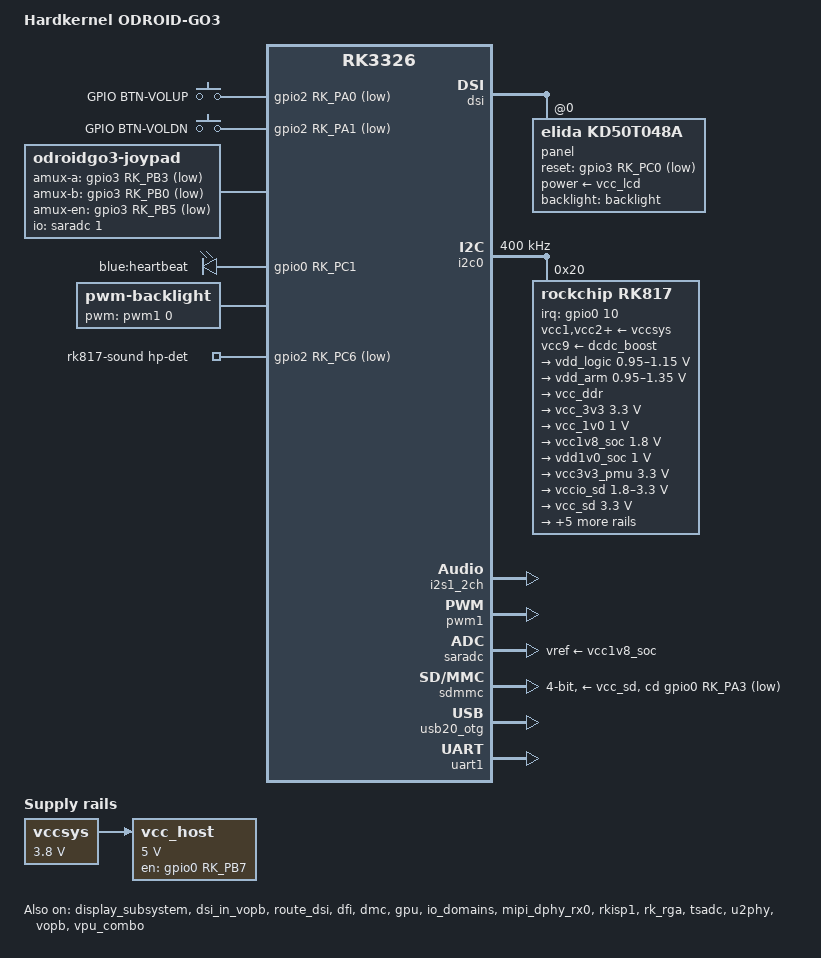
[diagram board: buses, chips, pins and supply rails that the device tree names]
// SPDX-License-Identifier: (GPL-2.0+ OR MIT)
/*
 * Copyright (c) 2020 Hardkernel Co., Ltd
 */

/dts-v1/;
#include <dt-bindings/display/drm_mipi_dsi.h>
#include <dt-bindings/gpio/gpio.h>
#include <dt-bindings/input/input.h>
#include <dt-bindings/pinctrl/rockchip.h>
#include <dt-bindings/sensor-dev.h>
#include "rk3326.dtsi"
#include "rk3326-linux.dtsi"

/ {
	model = "Hardkernel ODROID-GO3";
	compatible = "rockchip,rk3326-odroidgo3-linux", "rockchip,rk3326";

	chosen {
                bootargs = "";
	};

	gpio_keys: odroidgo3-keys {
			compatible = "gpio-keys";
			#address-cells = <1>;
			#size-cells = <0>;
			autorepeat;
			button@0 {
				label = "GPIO BTN-VOLUP";
				linux,code = <KEY_VOLUMEUP>;
				gpios = <&gpio2 RK_PA0 GPIO_ACTIVE_LOW>;
			};
			button@1 {
				label = "GPIO BTN-VOLDN";
				linux,code = <KEY_VOLUMEDOWN>;
				gpios = <&gpio2 RK_PA1 GPIO_ACTIVE_LOW>;
			};
	};

	joypad: odroidgo3-joypad {
                compatible = "odroidgo3-joypad";

                joypad-name = "GO-Super Gamepad";
                joypad-product = <0x1100>;
                joypad-revision = <0x0100>;

		status = "okay";
                /*
                  - odroidgo3-joypad sysfs list -
		   * for poll device interval(ms)
		   /sys/devices/platform/odroidgo3_joypad/poll_interval [rw]
		   ex) echo 20 > poll_interval
                   * for button-adc-fuzz
		   /sys/devices/platform/odroidgo3_joypad/adc_fuzz [r]
                   * for button-adc-flat
		   /sys/devices/platform/odroidgo3_joypad/adc_flat [r]

		   * for report control(1:enable, 0:disable)
		   /sys/devices/platform/odroidgo3_joypad/enable [rw]
		   * for adc calibration value setup(current adcs value -> cal value)
		   /sys/devices/platform/odroidgo3_joypad/adc_cal [rw]
		   ex) echo 0 > adc_cal
		   * for amux data debug
		   * Joypad driver is disabled when using this sysfs.
		   /sys/devices/platform/odroidgo3_joypad/amux_debug [rw]
		   ex) echo 0 > amux_debug --> select amux channel
		   ex) cat amux_debug --> get adc data of seleted channel
                */

		/* gpio pincontrol setup */
                pinctrl-names = "default";
                pinctrl-0 = <&btn_pins>;

		/* Analog mux define */
		io-channel-names = "amux_adc";
		io-channels = <&saradc 1>;

		/* adc mux channel count */
		amux-count = <4>;
		/* adc mux select(a,b) gpio */
		amux-a-gpios = <&gpio3 RK_PB3 GPIO_ACTIVE_LOW>;
		amux-b-gpios = <&gpio3 RK_PB0 GPIO_ACTIVE_LOW>;
		/* adc mux enable gpio */
		amux-en-gpios = <&gpio3 RK_PB5 GPIO_ACTIVE_LOW>;

		/* adc calculate scale */
		button-adc-scale = <2>;

		/* adc deadzone range  */
		button-adc-deadzone = <64>;

		/*
		  specifies fuzz value that is used to filter noise from
		  the event stream.
		*/
		button-adc-fuzz = <32>;
		button-adc-flat = <32>;

		/*
		  Analog Stick data tuning value(precent)
		  p = positive direction, n = negative direction
		  report value = (real_adc_data * tuning_value) / 100
		*/
		abs_x-p-tuning = <200>;
		abs_x-n-tuning = <200>;

		abs_y-p-tuning = <200>;
		abs_y-n-tuning = <200>;

		abs_rx-p-tuning = <200>;
		abs_rx-n-tuning = <200>;

		abs_ry-p-tuning = <200>;
		abs_ry-n-tuning = <200>;

		/* poll device interval (ms), adc read interval */
		poll-interval = <10>;

		/* gpio button auto repeat set value : default disable */
		/*
			autorepeat;
		*/

		/*
		      *** ODROIDGO3-Advance Switch layoout ***
		|------------------------------------------------|
		| sw15  sw21        sw10   sw9        sw20  sw16 |
		|------------------------------------------------|
		|      sw19                            sw22      |
		|              |-------------------|             |
		|     sw1      |                   |      sw8    |
		|  sw3   sw4   |                   |   sw7   sw5 |
		|     sw2      |    LCD Display    |      sw6    |
		|              |                   |             |
		|              |                   |             |
		|              |-------------------|             |
		|  sw11 sw12        | sd-slot |       sw13 sw14  |
		|-------------------|         |------------------|
		*/
                /*
                    joypad driver is poll-device driver.
                    poll-device is does not support wakeup-source.
		*/
                sw1 {
                        gpios = <&gpio1 RK_PB4 GPIO_ACTIVE_LOW>;
                        label = "GPIO DPAD-UP";
                        linux,code = <BTN_DPAD_UP>; // 0x220
                };
                sw2 {
                        gpios = <&gpio1 RK_PB5 GPIO_ACTIVE_LOW>;
                        label = "GPIO DPAD-DOWN";
                        linux,code = <BTN_DPAD_DOWN>; // 0x221
                };
                sw3 {
                        gpios = <&gpio1 RK_PB6 GPIO_ACTIVE_LOW>;
                        label = "GPIO DPAD-LEFT";
                        linux,code = <BTN_DPAD_LEFT>; // 0x222
                };
                sw4 {
                        gpios = <&gpio1 RK_PB7 GPIO_ACTIVE_LOW>;
                        label = "GPIO DPAD-RIGHT";
                        linux,code = <BTN_DPAD_RIGHT>; // 0x223
                };
                sw5 {
                        gpios = <&gpio1 RK_PA2 GPIO_ACTIVE_LOW>;
                        label = "GPIO KEY BTN-A";
                        linux,code = <BTN_EAST>; // 0x131
                };
                sw6 {
                        gpios = <&gpio1 RK_PA5 GPIO_ACTIVE_LOW>;
                        label = "GPIO BTN-B";
                        linux,code = <BTN_SOUTH>; // 0x130
                };
                sw7 {
                        gpios = <&gpio1 RK_PA6 GPIO_ACTIVE_LOW>;
                        label = "GPIO BTN-Y";
                        linux,code = <BTN_WEST>; // 0x134
                };
                sw8 {
                        gpios = <&gpio1 RK_PA7 GPIO_ACTIVE_LOW>;
                        label = "GPIO BTN-X";
                        linux,code = <BTN_NORTH>; // 0x133
                };
                sw11 {
                        gpios = <&gpio2 RK_PA2 GPIO_ACTIVE_LOW>;
                        label = "GPIO F3";
                        linux,code = <BTN_TRIGGER_HAPPY3>; // 0x2c2
                };
                sw12 {
                        gpios = <&gpio2 RK_PA3 GPIO_ACTIVE_LOW>;
                        label = "GPIO F4";
                        linux,code = <BTN_TRIGGER_HAPPY4>; // 0x2c3
                };
                sw13 {
                        gpios = <&gpio2 RK_PA4 GPIO_ACTIVE_LOW>;
                        label = "GPIO F5";
                        linux,code = <BTN_TRIGGER_HAPPY5>; // 0x2c4
                };
                sw14 {
                        gpios = <&gpio2 RK_PA5 GPIO_ACTIVE_LOW>;
                        label = "GPIO F6";
                        linux,code = <BTN_TRIGGER_HAPPY6>; // 0x13c
                };
                sw15 {
                        gpios = <&gpio2 RK_PA6 GPIO_ACTIVE_LOW>;
                        label = "GPIO TOP-LEFT";
                        linux,code = <BTN_TL>; // 0x02
                };
                sw16 {
                        gpios = <&gpio2 RK_PA7 GPIO_ACTIVE_LOW>;
                        label = "GPIO TOP-RIGHT";
                        linux,code = <BTN_TR>; // 0x05
                };
                sw19 {
                        gpios = <&gpio3 RK_PB1 GPIO_ACTIVE_LOW>;
                        label = "GPIO F1";
                        linux,code = <BTN_TRIGGER_HAPPY1>;
                };
                sw20 {
                        gpios = <&gpio3 RK_PB7 GPIO_ACTIVE_LOW>;
                        label = "GPIO TOP-RIGHT2";
                        linux,code = <BTN_TR2>;
                };
                sw21 {
                        gpios = <&gpio3 RK_PB2 GPIO_ACTIVE_LOW>;
                        label = "GPIO TOP-LEFT2";
                        linux,code = <BTN_TL2>;
                };
                sw22 {
                        gpios = <&gpio3 RK_PB4 GPIO_ACTIVE_LOW>;
                        label = "GPIO F2";
                        linux,code = <BTN_TRIGGER_HAPPY2>;
                };
        };

	fiq-debugger {
		compatible = "rockchip,fiq-debugger";
		rockchip,serial-id = <2>;
		rockchip,wake-irq = <0>;
		/* If enable uart uses irq instead of fiq */
		rockchip,irq-mode-enable = <0>;
		rockchip,baudrate = <115200>;  /* Only 115200 and 1500000 */
		interrupts = <GIC_SPI 127 IRQ_TYPE_LEVEL_LOW>;
		pinctrl-names = "default";
		pinctrl-0 = <&uart2m1_xfer>;
		status = "okay";
	};

	leds: gpio_leds {
		compatible = "gpio-leds";

		pinctrl-names = "led_pins";
		pinctrl-0 = <&led_pins>;

		/* Blue LED : GPIO0_C1 */
		heartbeat {
			label = "blue:heartbeat";
			gpios = <&gpio0 RK_PC1 GPIO_ACTIVE_HIGH>;
			linux,default-trigger = "heartbeat";
		};
	};

	backlight: backlight {
		compatible = "pwm-backlight";
		pwms = <&pwm1 0 40000 0>;
		brightness-levels = <
			  0   1   2   3   4   5   6   7
			  8   9  10  11  12  13  14  15
			 16  17  18  19  20  21  22  23
			 24  25  26  27  28  29  30  31
			 32  33  34  35  36  37  38  39
			 40  41  42  43  44  45  46  47
			 48  49  50  51  52  53  54  55
			 56  57  58  59  60  61  62  63
			 64  65  66  67  68  69  70  71
			 72  73  74  75  76  77  78  79
			 80  81  82  83  84  85  86  87
			 88  89  90  91  92  93  94  95
			 96  97  98  99 100 101 102 103
			104 105 106 107 108 109 110 111
			112 113 114 115 116 117 118 119
			120 121 122 123 124 125 126 127
			128 129 130 131 132 133 134 135
			136 137 138 139 140 141 142 143
			144 145 146 147 148 149 150 151
			152 153 154 155 156 157 158 159
			160 >;
		default-brightness-level = <80>; /* default 50% */
	};

	rk817-sound {
		compatible = "simple-audio-card";
		simple-audio-card,format = "i2s";
		simple-audio-card,name = "rockchip,rk817-codec";
		simple-audio-card,mclk-fs = <256>;
		simple-audio-card,widgets =
			"Microphone", "Mic Jack",
			"Headphone", "Headphone Jack";
		simple-audio-card,routing =
			"MIC_IN", "Mic Jack",
			/*"IN1P", "Mic Jack",*/
			"Headphone Jack", "HPOL",
			"Headphone Jack", "HPOR";
		simple-audio-card,hp-det-gpio = <&gpio2 RK_PC6 GPIO_ACTIVE_LOW>;
		simple-audio-card,codec-hp-det = <1>;
		simple-audio-card,cpu {
			sound-dai = <&i2s1_2ch>;
		};
		simple-audio-card,codec {
			sound-dai = <&rk817_codec>;
		};
	};

	vccsys: vccsys {
		compatible = "regulator-fixed";
		regulator-name = "vcc3v8_sys";
		regulator-always-on;
		regulator-min-microvolt = <3800000>;
		regulator-max-microvolt = <3800000>;
	};

	vcc_host: vcc_host {
		compatible = "regulator-fixed";
		regulator-name = "vcc_host";
		regulator-min-microvolt = <5000000>;
		regulator-max-microvolt = <5000000>;

		gpio = <&gpio0 RK_PB7 GPIO_ACTIVE_HIGH>;
		enable-active-high;
		regulator-always-on;
		vin-supply = <&vccsys>;
	};
};

&bus_apll {
	bus-supply = <&vdd_logic>;
	status = "okay";
};

&cpu0 {
	cpu-supply = <&vdd_arm>;
};

&cpu0_opp_table {
	rockchip,avs = <1>;

	/* default 1.296GHz */
	rockchip,bin-scaling-sel = <
		0	13
		1	13
	>;

	/delete-node/ opp-816000000;
	/delete-node/ opp-1248000000;
};

&display_subsystem {
	status = "okay";
};

&dsi {
	status = "okay";

	panel@0 {
		compatible = "elida,kd50t048a", "simple-panel-dsi";
		reg = <0>;

		/* pwm1 backlight */
		backlight = <&backlight>;

		/* RK817 LDO8 */
		power-supply = <&vcc_lcd>;

		/* LCD reset gpio GPIO3.C0 */
		reset-gpios = <&gpio3 RK_PC0 GPIO_ACTIVE_LOW>;

		prepare-delay-ms = <2>;
		reset-delay-ms = <20>;
		init-delay-ms = <10>;
		enable-delay-ms = <50>;
		disable-delay-ms = <10>;
		unprepare-delay-ms = <10>;

		/* LCD size */
		width-mm = <69>;
		height-mm = <139>;

		dsi,flags = <(MIPI_DSI_MODE_VIDEO           |
			      MIPI_DSI_MODE_VIDEO_BURST     |
			      MIPI_DSI_MODE_EOT_PACKET)>;

		dsi,format = <MIPI_DSI_FMT_RGB888>;
		dsi,lanes = <2>;

		/*
			- panel-init-sequence data description -
			  mipi_cmd, delay(ms), len, lcd_cmd, lcd_data...

			- mipi_cmd description -
			  05 : MIPI_DSI_SHORT_WRITE
			  15 : MIPI_DSI_SHORT_WRITE_PARAM
			  39 : MIPI_DSI_LONG_WRITE

			- ST7701S (Initialize sequence) -
			  01: Soft reset
			  11: Sleep out & 250ms wait
			  FF: Bank select CMD
			  C0: CMD2 Bank0 LNESET
			  C1: CMD2 Bank0 PORCTRL
			  C2: CMD2 Bank0 INVSEL
			  CC: ???
			  B0: CMD2 Bank0 PVGAMCTRL
			  B1: CMD2 Bank0 NVGAMCTRL
			  B0: CMD2 Bank1 VRHS
			  B1: CMD2 Bank1 VCOMS
			  B2: CMD2 Bank1 VGHSS
			  B3: CMD2 Bank1 TESTCMD
			  B5: CMD2 Bank1 VGLS
			  B7: CMD2 Bank1 PWRCTRL1
			  B8: CMD2 Bank1 PWRCTRL2
			  B9: CMD2 Bank1 PWRCTRL3
			  C1: CMD2 Bank1 PDR1
			  C2: CMD2 Bank1 PDR2
			  D0: CMD2 Bank1 MIPISET1
			  E0 ~ EF : GIP Setting
			  3A: Normal CMD COLMOD
			  53: Normal CMD WRCTRLD
			  55: Normal CMD WRCABC
			  5E: Normal CMD WRCABCMB
			  29: DisplayOn & 50ms wait
		*/

		panel-init-sequence = [
			05 05 01 01
			05 FA 01 11
			39 00 06 FF 77 01 00 00 10
			15 00 03 C0 E9 03
			15 00 03 C1 11 02
			15 00 03 C2 31 08
			15 00 02 CC 10
			39 00 11 B0 00 0D 14 0D 10 05 02 08
			            08 1E 05 13 11 A3 29 18
			39 00 11 B1 00 0C 14 0C 10 05 03 08
			            07 20 05 13 11 A4 29 18
			39 00 06 FF 77 01 00 00 11
			15 00 02 B0 6C
			15 00 02 B1 43
			15 00 02 B2 07
			15 00 02 B3 80
			15 00 02 B5 47
			15 00 02 B7 85
			15 00 02 B8 20
			15 00 02 B9 10
			15 00 02 C1 78
			15 00 02 C3 78
			15 FA 02 D0 88
			39 00 04 E0 00 00 02
			39 00 0C E1 08 00 0A 00 07 00 09 00 00 33 33
			39 00 0F E2 00 00 00 00 00 00 00 00 00 00 00 00 00 00
			39 00 05 E3 00 00 33 33
			15 00 03 E4 44 44
			39 00 11 E5 0E 60 A0 A0 10 60 A0 A0
			            0A 60 A0 A0 0C 60 A0 A0
			39 00 05 E6 00 00 33 33
			15 00 03 E7 44 44
			39 00 11 E8 0D 60 A0 A0 0F 60 A0 A0
			            09 60 A0 A0 0B 60 A0 A0
			39 00 08 EB 02 01 E4 E4 44 00 40
			15 00 03 EC 02 01
			39 00 11 ED AB 89 76 54 01 FF FF FF
			            FF FF FF 10 45 67 98 BA
			39 00 06 FF 77 01 00 00 00
			15 00 02 3A 70
			15 00 02 53 EC
			15 00 02 55 B3
			15 00 02 5E FF
			05 32 01 29
		];

		/* 28: DisplayOff */
		/* 10: SleepIn */
		panel-exit-sequence = [
			05 00 01 28
			05 00 01 10
		];

		display-timings {
			native-mode = <&timing0>;

			timing0: timing0 {
				clock-frequency = <27500000>;
				hactive = <480>;
				vactive = <854>;

				hfront-porch = <2>;
				hsync-len = <10>;
				hback-porch = <2>;
				vfront-porch = <12>;
				vsync-len = <2>;
				vback-porch = <60>;
				hsync-active = <0>;
				vsync-active = <0>;
				de-active = <0>;
				pixelclk-active = <0>;
			};
		};
	};
};

&dsi_in_vopb {
	status = "okay";
};

&route_dsi {
	connect = <&vopb_out_dsi>;
	status = "okay";
};

&dfi {
	status = "okay";
};

&dmc {
	center-supply = <&vdd_logic>;
	status = "okay";
};

&dmc_opp_table {
	/delete-node/ opp-194000000;
	/delete-node/ opp-328000000;
	/delete-node/ opp-450000000;

	opp-786000000 {
		status = "okay";
	};
};

&gpu_opp_table {
	/delete-node/ opp-200000000;
	/delete-node/ opp-300000000;
};

&emmc {
	status = "disabled";
};

&sfc {
	status = "disabled";
};

&gpu {
	mali-supply = <&vdd_logic>;
	status = "okay";
};

&i2c0 {
	status = "okay";
	clock-frequency = <400000>;
	i2c-scl-rising-time-ns = <280>;
	i2c-scl-falling-time-ns = <16>;

	rk817: pmic@20 {
		compatible = "rockchip,rk817";
		reg = <0x20>;
		interrupt-parent = <&gpio0>;
		interrupts = <10 IRQ_TYPE_LEVEL_LOW>;
		pinctrl-names = "default", "pmic-sleep",
				"pmic-power-off", "pmic-reset";
		pinctrl-0 = <&pmic_int>;
		pinctrl-1 = <&soc_slppin_slp>, <&rk817_slppin_slp>;
		pinctrl-2 = <&soc_slppin_gpio>, <&rk817_slppin_pwrdn>;
		pinctrl-3 = <&soc_slppin_rst>, <&rk817_slppin_rst>;
		rockchip,system-power-controller;
		wakeup-source;
		#clock-cells = <1>;
		clock-output-names = "rk808-clkout1", "rk808-clkout2";
		//fb-inner-reg-idxs = <2>;

		/* 1: rst regs (default in codes), 0: rst the pmic */
		pmic-reset-func = <1>;

		vcc1-supply = <&vccsys>;
		vcc2-supply = <&vccsys>;
		vcc3-supply = <&vccsys>;
		vcc4-supply = <&vccsys>;
		vcc5-supply = <&vccsys>;
		vcc6-supply = <&vccsys>;
		vcc7-supply = <&vccsys>;
		vcc8-supply = <&vccsys>;
		vcc9-supply = <&dcdc_boost>;

		pwrkey {
			status = "okay";
		};

		pinctrl_rk8xx: pinctrl_rk8xx {
			gpio-controller;
			#gpio-cells = <2>;

			rk817_ts_gpio1: rk817_ts_gpio1 {
				pins = "gpio_ts";
				function = "pin_fun1";
				/* output-low; */
				/* input-enable; */
			};

			rk817_gt_gpio2: rk817_gt_gpio2 {
				pins = "gpio_gt";
				function = "pin_fun1";
			};

			rk817_pin_ts: rk817_pin_ts {
				pins = "gpio_ts";
				function = "pin_fun0";
			};

			rk817_pin_gt: rk817_pin_gt {
				pins = "gpio_gt";
				function = "pin_fun0";
			};

			rk817_slppin_null: rk817_slppin_null {
				pins = "gpio_slp";
				function = "pin_fun0";
			};

			rk817_slppin_slp: rk817_slppin_slp {
				pins = "gpio_slp";
				function = "pin_fun1";
			};

			rk817_slppin_pwrdn: rk817_slppin_pwrdn {
				pins = "gpio_slp";
				function = "pin_fun2";
			};

			rk817_slppin_rst: rk817_slppin_rst {
				pins = "gpio_slp";
				function = "pin_fun3";
			};
		};

		regulators {
			vdd_logic: DCDC_REG1 {
				regulator-always-on;
				regulator-boot-on;
				regulator-min-microvolt = <950000>;
				regulator-max-microvolt = <1150000>;
				regulator-ramp-delay = <6001>;
				regulator-initial-mode = <0x2>;
				regulator-name = "vdd_logic";
				regulator-state-mem {
					regulator-on-in-suspend;
					regulator-suspend-microvolt = <950000>;
				};
			};

			vdd_arm: DCDC_REG2 {
				regulator-always-on;
				regulator-boot-on;
				regulator-min-microvolt = <950000>;
				regulator-max-microvolt = <1350000>;
				regulator-ramp-delay = <6001>;
				regulator-initial-mode = <0x2>;
				regulator-name = "vdd_arm";
				regulator-state-mem {
					regulator-off-in-suspend;
					regulator-suspend-microvolt = <950000>;
				};
			};

			vcc_ddr: DCDC_REG3 {
				regulator-always-on;
				regulator-boot-on;
				regulator-initial-mode = <0x2>;
				regulator-name = "vcc_ddr";
				regulator-state-mem {
					regulator-on-in-suspend;
				};
			};

			vcc_3v3: DCDC_REG4 {
				regulator-always-on;
				regulator-boot-on;
				regulator-min-microvolt = <3300000>;
				regulator-max-microvolt = <3300000>;
				regulator-initial-mode = <0x2>;
				regulator-name = "vcc_3v3";
				regulator-state-mem {
					regulator-off-in-suspend;
					regulator-suspend-microvolt = <3300000>;
				};
			};

			/* Not Used */
			vcc_1v0: LDO_REG1 {
				regulator-min-microvolt = <1000000>;
				regulator-max-microvolt = <1000000>;
				regulator-name = "vcc_1v0";
				regulator-state-mem {
					regulator-off-in-suspend;
					regulator-suspend-microvolt = <1000000>;
				};
			};

			vcc1v8_soc: LDO_REG2 {
				regulator-always-on;
				regulator-boot-on;
				regulator-min-microvolt = <1800000>;
				regulator-max-microvolt = <1800000>;

				regulator-name = "vcc1v8_soc";
				regulator-state-mem {
					regulator-on-in-suspend;
					regulator-suspend-microvolt = <1800000>;
				};
			};

			vdd1v0_soc: LDO_REG3 {
				regulator-always-on;
				regulator-boot-on;
				regulator-min-microvolt = <1000000>;
				regulator-max-microvolt = <1000000>;

				regulator-name = "vcc1v0_soc";
				regulator-state-mem {
					regulator-on-in-suspend;
					regulator-suspend-microvolt = <1000000>;
				};
			};

			vcc3v3_pmu: LDO_REG4 {
				regulator-always-on;
				regulator-boot-on;
				regulator-min-microvolt = <3300000>;
				regulator-max-microvolt = <3300000>;

				regulator-name = "vcc3v3_pmu";
				regulator-state-mem {
					regulator-on-in-suspend;
					regulator-suspend-microvolt = <3300000>;

				};
			};

			vccio_sd: LDO_REG5 {
				regulator-always-on;
				regulator-boot-on;
				regulator-min-microvolt = <1800000>;
				regulator-max-microvolt = <3300000>;

				regulator-name = "vccio_sd";
				regulator-state-mem {
					regulator-on-in-suspend;
					regulator-suspend-microvolt = <3300000>;
				};
			};

			vcc_sd: LDO_REG6 {
				regulator-min-microvolt = <3300000>;
				regulator-max-microvolt = <3300000>;
				regulator-boot-on;

				regulator-name = "vcc_sd";
				regulator-state-mem {
					regulator-on-in-suspend;
					regulator-suspend-microvolt = <3300000>;

				};
			};

			/* GO3 : Not used LCD Backlight Power */
			vcc_backlight: LDO_REG7 {
				regulator-min-microvolt = <3300000>;
				regulator-max-microvolt = <3300000>;
				regulator-name = "vcc_backlight";
				regulator-state-mem {
					regulator-off-in-suspend;
					regulator-suspend-microvolt = <3300000>;
				};
			};

			/* Rev 0.1 GO3 LCD IO Power */
			vcc_lcd: LDO_REG8 {
				regulator-min-microvolt = <3300000>;
				regulator-max-microvolt = <3300000>;
				regulator-name = "vcc_lcd";
				regulator-state-mem {
					regulator-off-in-suspend;
					regulator-suspend-microvolt = <3300000>;
				};
			};

			/* Rev 1.1 WIFI Power */
			vcc_wifi: LDO_REG9 {
				regulator-min-microvolt = <3300000>;
				regulator-max-microvolt = <3300000>;
				regulator-name = "vcc_wifi";
				regulator-state-mem {
					regulator-off-in-suspend;
					regulator-suspend-microvolt = <3300000>;
				};
			};

			dcdc_boost: BOOST {
				regulator-always-on;
				regulator-boot-on;
				regulator-min-microvolt = <5000000>;
				regulator-max-microvolt = <5400000>;
				regulator-name = "boost";
			};

			otg_switch: OTG_SWITCH {
				regulator-boot-on;
				regulator-name = "otg_switch";
			};
		};

		/*
			- HCP775474ZC Battery
			Capacity : 3.7V 4000mAh, 14.8Wh
			Rated Voltage = 3.7V
			Charge Cut-Off Voltage : 4.25V
			Discharge Cut-Off Voltage : 3.0V
			Internal Impedance : 180 mOhm
			Charging Voltage : 4.2V
			Charging Voltage Max : 4.25V
			Sample resister : 10 mohm (R12)
		*/
		battery {
			compatible = "rk817,battery";
			ocv_table = <3500 3625 3685 3697 3718 3735 3748
			3760 3774 3788 3802 3816 3834 3853
			3877 3908 3946 3975 4018 4071 4106>;
			design_capacity = <4000>;
			design_qmax = <4020>;
			bat_res = <180>;
			sleep_enter_current = <300>;
			sleep_exit_current = <300>;
			sleep_filter_current = <100>;
			power_off_thresd = <3300>;
			zero_algorithm_vol = <3850>;
			max_soc_offset = <60>;
			monitor_sec = <5>;
			virtual_power = <0>;
			sample_res = <10>;
		};

		charger {
			compatible = "rk817,charger";
			min_input_voltage = <4500>;
			max_input_current = <1500>;
			max_chrg_current = <2000>;
			max_chrg_voltage = <4200>;
			chrg_term_mode = <0>;
			chrg_finish_cur = <300>;
			virtual_power = <0>;
			sample_res = <10>;

			/* P.C.B rev0.2 DC Detect & Charger Status LED GPIO */
			dc_det_gpio  = <&gpio0 RK_PB3 GPIO_ACTIVE_HIGH>;
			chg_led_gpio = <&gpio0 RK_PB5 GPIO_ACTIVE_HIGH>;

			extcon = <&u2phy>;
		};

		rk817_codec: codec {
			#sound-dai-cells = <0>;
			compatible = "rockchip,rk817-codec";
			clocks = <&cru SCLK_I2S1_OUT>;
			clock-names = "mclk";
			pinctrl-names = "default";
			pinctrl-0 = <&i2s1_2ch_mclk>;
			hp-volume = <20>;
			spk-volume = <3>;
			status = "okay";
		};
	};
};

/* for GPIO */
&i2c1 {
	status = "disabled";
};

/* MIPI CSI I2C */
&i2c2 {
	status = "disabled";
};

/* I2S 1 Channel Used */
&i2s1_2ch {
	status = "okay";
	#sound-dai-cells = <0>;
};

&io_domains {
	/* GRF Register Voltage select control */
	status = "okay";

	/* SDIO I/O Voltage */
	vccio1-supply = <&vcc_3v3>;
	/* SDMMC I/O Voltage */
	vccio2-supply = <&vccio_sd>;
	/* CAM I/O Voltage */
	vccio3-supply = <&vcc_3v3>;
	/* LVDS/LCDC I/O Voltage */
	vccio4-supply = <&vcc_3v3>;
	/* I2S I/O Voltage */
	vccio5-supply = <&vcc_3v3>;
	/* eMMC I/O Voltage */
	vccio6-supply = <&vcc_3v3>;
};

&isp_mmu {
	status = "okay";
};

&mipi_dphy_rx0 {
	status = "okay";
};

&rkisp1 {
	status = "okay";
};

&spi0 {
	status = "disabled";
};

&pmu_io_domains {
	/* PMU GRF Register Voltage select control */
	status = "okay";

	/* PMU I/O Voltage */
	pmuio1-supply = <&vcc3v3_pmu>;
	/* GPIO0_B/GPIO0_C, Flash */
	pmuio2-supply = <&vcc3v3_pmu>;
};

/* LCD Backlight PWM */
&pwm1 {
	status = "okay";
};

&rk_rga {
	status = "okay";
};

&rockchip_suspend {
	status = "okay";
	rockchip,sleep-debug-en = <1>;
};

&saradc {
	status = "okay";
	vref-supply = <&vcc1v8_soc>;
};

&sdmmc {
	bus-width = <4>;
	cap-mmc-highspeed;
	cap-sd-highspeed;
	supports-sd;
	card-detect-delay = <800>;
	ignore-pm-notify;
	cd-gpios = <&gpio0 RK_PA3 GPIO_ACTIVE_LOW>; /*[> CD GPIO <]*/
	sd-uhs-sdr12;
	sd-uhs-sdr25;
	sd-uhs-sdr50;
	sd-uhs-sdr104;
	vqmmc-supply = <&vccio_sd>;
	vmmc-supply = <&vcc_sd>;
	status = "okay";
};

&sdio {
	status = "disabled";
};

&tsadc {
	pinctrl-names = "gpio", "otpout";
	pinctrl-0 = <&tsadc_otp_gpio>;
	pinctrl-1 = <&tsadc_otp_out>;
	status = "okay";
};

&u2phy {
	status = "okay";

	u2phy_host: host-port {
		status = "okay";
	};

	u2phy_otg: otg-port {
		status = "disabled";
	};
};

&usb20_otg {
	status = "okay";
};

&uart1 {
	status = "okay";
};

&vip_mmu {
	status = "okay";
};

&vopb {
	status = "okay";
};

&vopb_mmu {
	status = "okay";
};

&vpu_combo {
	status = "okay";
};

&pinctrl {
	pmic {
		/* ODROID-GO2 : PMIC_INT(GPIO0.PB2) */
		pmic_int: pmic_int {
			rockchip,pins =
				<0 RK_PB2 RK_FUNC_GPIO &pcfg_pull_up>,
				<0 RK_PB3 RK_FUNC_GPIO &pcfg_pull_none>;
		};

		/* ODROID-GO2 : PMIC_SLEEP(GPIO0.PA4) */
		soc_slppin_gpio: soc_slppin_gpio {
			rockchip,pins =
				<0 RK_PA4 RK_FUNC_GPIO &pcfg_output_low>;
		};

		soc_slppin_slp: soc_slppin_slp {
			rockchip,pins =
				<0 RK_PA4 RK_FUNC_1 &pcfg_pull_none>;
		};

		soc_slppin_rst: soc_slppin_rst {
			rockchip,pins =
				<0 RK_PA4 RK_FUNC_2 &pcfg_pull_none>;
		};
	};

	leds {
		led_pins: led-pins {
			rockchip,pins = <0 RK_PC1 RK_FUNC_GPIO &pcfg_pull_none>;
		};
	};
	btns {
		btn_pins: btn-pins {
			rockchip,pins = <1 RK_PB4 RK_FUNC_GPIO &pcfg_pull_up>,
					<1 RK_PB5 RK_FUNC_GPIO &pcfg_pull_up>,
					<1 RK_PB6 RK_FUNC_GPIO &pcfg_pull_up>,
					<1 RK_PB7 RK_FUNC_GPIO &pcfg_pull_up>,

					<1 RK_PA2 RK_FUNC_GPIO &pcfg_pull_up>,
					<1 RK_PA5 RK_FUNC_GPIO &pcfg_pull_up>,
					<1 RK_PA6 RK_FUNC_GPIO &pcfg_pull_up>,
					<1 RK_PA7 RK_FUNC_GPIO &pcfg_pull_up>,

					<2 RK_PA0 RK_FUNC_GPIO &pcfg_pull_up>,
					<2 RK_PA1 RK_FUNC_GPIO &pcfg_pull_up>,
					<2 RK_PA2 RK_FUNC_GPIO &pcfg_pull_up>,
					<2 RK_PA3 RK_FUNC_GPIO &pcfg_pull_up>,
					<2 RK_PA4 RK_FUNC_GPIO &pcfg_pull_up>,
					<2 RK_PA5 RK_FUNC_GPIO &pcfg_pull_up>,
					<2 RK_PA6 RK_FUNC_GPIO &pcfg_pull_up>,
					<2 RK_PA7 RK_FUNC_GPIO &pcfg_pull_up>,

					<3 RK_PB1 RK_FUNC_GPIO &pcfg_pull_up>,
					<3 RK_PB2 RK_FUNC_GPIO &pcfg_pull_up>,
					<3 RK_PB4 RK_FUNC_GPIO &pcfg_pull_up>,
					<3 RK_PB7 RK_FUNC_GPIO &pcfg_pull_up>;
		};
	};
};

/* DON'T PUT ANYTHING BELOW HERE.  PUT IT ABOVE PINCTRL */
/* DON'T PUT ANYTHING BELOW HERE.  PUT IT ABOVE PINCTRL */
/* DON'T PUT ANYTHING BELOW HERE.  PUT IT ABOVE PINCTRL */
